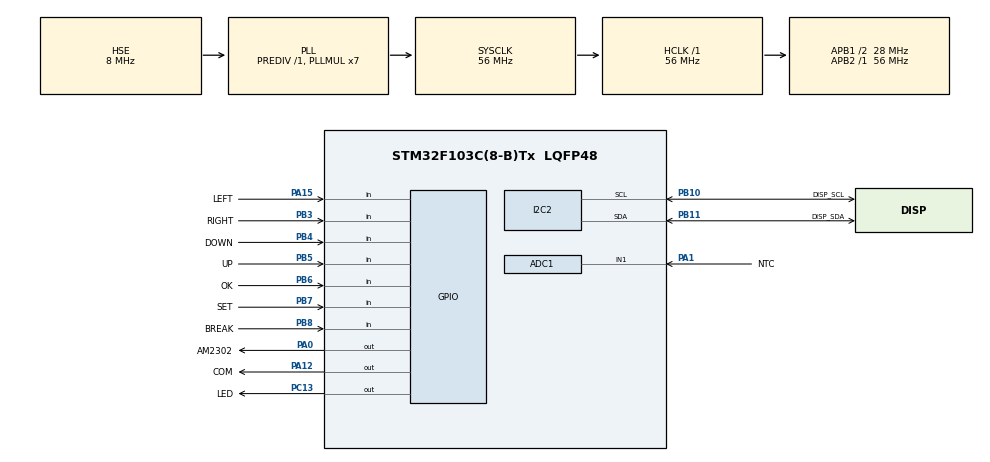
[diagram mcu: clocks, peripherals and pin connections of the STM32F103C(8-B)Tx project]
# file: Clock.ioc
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ADC1.Channel-0\#ChannelRegularConversion=ADC_CHANNEL_1
ADC1.NbrOfConversionFlag=1
ADC1.Rank-0\#ChannelRegularConversion=1
ADC1.SamplingTime-0\#ChannelRegularConversion=ADC_SAMPLETIME_1CYCLE_5
ADC1.master=1
FREERTOS.INCLUDE_vTaskDelayUntil=1
FREERTOS.Tasks01=ssd1306,0,128,ssd1306_task,As weak,NULL,Dynamic,NULL,NULL;am2302,1,128,am2302_task,As external,NULL,Dynamic,NULL,NULL;rtc,0,128,rtc_task,As external,NULL,Dynamic,NULL,NULL
FREERTOS.configUSE_TICKLESS_IDLE=1
I2C2.I2C_Mode=I2C_Fast
Mcu.Family=STM32F1
Mcu.Name=STM32F103C(8-B)Tx
Mcu.Package=LQFP48
NVIC.PriorityGroup=NVIC_PRIORITYGROUP_4
NVIC.TIM1_UP_IRQn=true\:0\:0\:false\:false\:true\:false\:false
NVIC.TIM2_IRQn=true\:5\:0\:false\:false\:true\:true\:true
NVIC.TimeBase=TIM1_UP_IRQn
NVIC.TimeBaseIP=TIM1
PA0-WKUP.GPIO_Label=AM2302
PA0-WKUP.Signal=GPIO_Output
PA1.GPIO_Label=NTC
PA1.Signal=ADCx_IN1
PA12.GPIO_Label=COM
PA12.Signal=GPIO_Output
PA13.Mode=Serial_Wire
PA13.Signal=SYS_JTMS-SWDIO
PA14.Mode=Serial_Wire
PA14.Signal=SYS_JTCK-SWCLK
PA15.GPIO_Label=LEFT
PA15.GPIO_PuPd=GPIO_PULLDOWN
PA15.Signal=GPIO_Input
PB10.GPIO_Label=DISP_SCL
PB10.Mode=I2C
PB10.Signal=I2C2_SCL
PB11.GPIO_Label=DISP_SDA
PB11.Mode=I2C
PB11.Signal=I2C2_SDA
PB3.GPIO_Label=RIGHT
PB3.GPIO_PuPd=GPIO_PULLDOWN
PB3.Signal=GPIO_Input
PB4.GPIO_Label=DOWN
PB4.GPIO_PuPd=GPIO_PULLDOWN
PB4.Signal=GPIO_Input
PB5.GPIO_Label=UP
PB5.GPIO_PuPd=GPIO_PULLDOWN
PB5.Signal=GPIO_Input
PB6.GPIO_Label=OK
PB6.GPIO_PuPd=GPIO_PULLDOWN
PB6.Signal=GPIO_Input
PB7.GPIO_Label=SET
PB7.GPIO_PuPd=GPIO_PULLDOWN
PB7.Signal=GPIO_Input
PB8.GPIO_Label=BREAK
PB8.GPIO_PuPd=GPIO_PULLDOWN
PB8.Signal=GPIO_Input
PC13-TAMPER-RTC.GPIO_Label=LED
PC13-TAMPER-RTC.GPIO_ModeDefaultOutputPP=GPIO_MODE_OUTPUT_OD
PC13-TAMPER-RTC.PinState=GPIO_PIN_SET
PC13-TAMPER-RTC.Signal=GPIO_Output
PC14-OSC32_IN.Mode=LSE-External-Oscillator
PC14-OSC32_IN.Signal=RCC_OSC32_IN
PC15-OSC32_OUT.Mode=LSE-External-Oscillator
PC15-OSC32_OUT.Signal=RCC_OSC32_OUT
PD0-OSC_IN.Mode=HSE-External-Oscillator
PD0-OSC_IN.Signal=RCC_OSC_IN
PD1-OSC_OUT.Mode=HSE-External-Oscillator
PD1-OSC_OUT.Signal=RCC_OSC_OUT
ProjectManager.HeapSize=0x200
ProjectManager.StackSize=0x400
ProjectManager.TargetToolchain=Makefile
RCC.ADCPresc=RCC_ADCPCLK2_DIV4
RCC.AHBFreq_Value=56000000
RCC.APB1CLKDivider=RCC_HCLK_DIV2
RCC.APB1Freq_Value=28000000
RCC.APB1TimFreq_Value=56000000
RCC.APB2Freq_Value=56000000
RCC.APB2TimFreq_Value=56000000
RCC.HCLKFreq_Value=56000000
RCC.PLLMUL=RCC_PLL_MUL7
RCC.PLLSourceVirtual=RCC_PLLSOURCE_HSE
RCC.RTCClockSelection=RCC_RTCCLKSOURCE_LSE
RCC.SYSCLKFreq_VALUE=56000000
RCC.SYSCLKSource=RCC_SYSCLKSOURCE_PLLCLK
RCC.USBFreq_Value=56000000
RTC.Date=11
RTC.Format=RTC_FORMAT_BIN
RTC.Month=RTC_MONTH_MAY
RTC.WeekDay=RTC_WEEKDAY_FRIDAY
RTC.Year=18
SH.ADCx_IN1.0=ADC1_IN1,IN1
VP_FREERTOS_VS_ENABLE.Mode=Enabled
VP_RTC_No_RTC_Output.Mode=RTC_OUT_NO
VP_RTC_VS_RTC_Activate.Mode=RTC_Enabled
VP_RTC_VS_RTC_Calendar.Mode=RTC_Calendar
VP_SYS_VS_tim1.Mode=TIM1
VP_TIM2_VS_ClockSourceINT.Mode=Internal
board=Clock

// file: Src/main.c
/* USER CODE BEGIN Header */
/**
  ******************************************************************************
  * @file           : main.c
  * @brief          : Main program body
  ******************************************************************************
  * This notice applies to any and all portions of this file
  * that are not between comment pairs USER CODE BEGIN and
  * USER CODE END. Other portions of this file, whether
  * inserted by the user or by software development tools
  * are owned by their respective copyright owners.
  *
  * Copyright (c) 2019 STMicroelectronics International N.V.
  * All rights reserved.
  *
  * Redistribution and use in source and binary forms, with or without
  * modification, are permitted, provided that the following conditions are met:
  *
  * 1. Redistribution of source code must retain the above copyright notice,
  *    this list of conditions and the following disclaimer.
  * 2. Redistributions in binary form must reproduce the above copyright notice,
  *    this list of conditions and the following disclaimer in the documentation
  *    and/or other materials provided with the distribution.
  * 3. Neither the name of STMicroelectronics nor the names of other
  *    contributors to this software may be used to endorse or promote products
  *    derived from this software without specific written permission.
  * 4. This software, including modifications and/or derivative works of this
  *    software, must execute solely and exclusively on microcontroller or
  *    microprocessor devices manufactured by or for STMicroelectronics.
  * 5. Redistribution and use of this software other than as permitted under
  *    this license is void and will automatically terminate your rights under
  *    this license.
  *
  * THIS SOFTWARE IS PROVIDED BY STMICROELECTRONICS AND CONTRIBUTORS "AS IS"
  * AND ANY EXPRESS, IMPLIED OR STATUTORY WARRANTIES, INCLUDING, BUT NOT
  * LIMITED TO, THE IMPLIED WARRANTIES OF MERCHANTABILITY, FITNESS FOR A
  * PARTICULAR PURPOSE AND NON-INFRINGEMENT OF THIRD PARTY INTELLECTUAL PROPERTY
  * RIGHTS ARE DISCLAIMED TO THE FULLEST EXTENT PERMITTED BY LAW. IN NO EVENT
  * SHALL STMICROELECTRONICS OR CONTRIBUTORS BE LIABLE FOR ANY DIRECT, INDIRECT,
  * INCIDENTAL, SPECIAL, EXEMPLARY, OR CONSEQUENTIAL DAMAGES (INCLUDING, BUT NOT
  * LIMITED TO, PROCUREMENT OF SUBSTITUTE GOODS OR SERVICES; LOSS OF USE, DATA,
  * OR PROFITS; OR BUSINESS INTERRUPTION) HOWEVER CAUSED AND ON ANY THEORY OF
  * LIABILITY, WHETHER IN CONTRACT, STRICT LIABILITY, OR TORT (INCLUDING
  * NEGLIGENCE OR OTHERWISE) ARISING IN ANY WAY OUT OF THE USE OF THIS SOFTWARE,
  * EVEN IF ADVISED OF THE POSSIBILITY OF SUCH DAMAGE.
  *
  ******************************************************************************
  */
/* USER CODE END Header */

#include "main.h"
#include "cmsis_os.h"

/* USER CODE BEGIN Includes */
#include "stm32f103xb.h"
#include "stm32f1xx_hal_flash.h"
#include "stm32f1xx_hal_rtc.h"
#include "stm32f1xx_hal_def.h"
#include "ssd1306.h"
#include "fonts.h"
#include "hd44780.h"
#include "am2302.h"
#include "keyboard.h"
#include "dcts.h"
#include "user_tasks.h"
#include "portable.h"
#include "buttons.h"

/* USER CODE END Includes */

ADC_HandleTypeDef hadc1;

I2C_HandleTypeDef hi2c2;

RTC_HandleTypeDef hrtc;

TIM_HandleTypeDef htim2;

osThreadId ssd1306Handle;
osThreadId am2302Handle;
osThreadId rtcHandle;
/* USER CODE BEGIN PV */
/* Private variables ---------------------------------------------------------*/

state_type clock_state = RUN;

/* USER CODE END PV */

void SystemClock_Config(void);
static void MX_GPIO_Init(void);
static void MX_RTC_Init(void);
static void MX_TIM2_Init(void);
static void MX_I2C2_Init(void);
static void MX_ADC1_Init(void);
void ssd1306_task(void const * argument);
extern void am2302_task(void const * argument);
extern void rtc_task(void const * argument);

/* USER CODE BEGIN PFP */
/* Private function prototypes -----------------------------------------------*/

/* USER CODE END PFP */

int main(void)
{

  /* MCU Configuration--------------------------------------------------------*/

  /* Reset of all peripherals, Initializes the Flash interface and the Systick. */
  HAL_Init();

  /* Configure the system clock */
  SystemClock_Config();

  /* Initialize all configured peripherals */
  MX_GPIO_Init();
  MX_RTC_Init();
  MX_TIM2_Init();
  MX_I2C2_Init();
  MX_ADC1_Init();
  /* USER CODE BEGIN 2 */

  dcts_init();
  buttons_init();

  /* USER CODE END 2 */

  /* Create the thread(s) */
  /* definition and creation of ssd1306 */
  osThreadDef(ssd1306, ssd1306_task, osPriorityNormal, 0, 128);
  ssd1306Handle = osThreadCreate(osThread(ssd1306), NULL);

  /* definition and creation of am2302 */
  osThreadDef(am2302, am2302_task, osPriorityAboveNormal, 0, 128);
  am2302Handle = osThreadCreate(osThread(am2302), NULL);

  /* definition and creation of rtc */
  osThreadDef(rtc, rtc_task, osPriorityNormal, 0, 128);
  rtcHandle = osThreadCreate(osThread(rtc), NULL);

  /* Start scheduler */
  osKernelStart();

  /* We should never get here as control is now taken by the scheduler */

  /* Infinite loop */
  while (1)
  {

  }
}

void SystemClock_Config(void)
{
  RCC_OscInitTypeDef RCC_OscInitStruct = {0};
  RCC_ClkInitTypeDef RCC_ClkInitStruct = {0};
  RCC_PeriphCLKInitTypeDef PeriphClkInit = {0};

  /**Initializes the CPU, AHB and APB busses clocks
  */
  RCC_OscInitStruct.OscillatorType = RCC_OSCILLATORTYPE_HSE|RCC_OSCILLATORTYPE_LSE;
  RCC_OscInitStruct.HSEState = RCC_HSE_ON;
  RCC_OscInitStruct.HSEPredivValue = RCC_HSE_PREDIV_DIV1;
  RCC_OscInitStruct.LSEState = RCC_LSE_ON;
  RCC_OscInitStruct.HSIState = RCC_HSI_ON;
  RCC_OscInitStruct.PLL.PLLState = RCC_PLL_ON;
  RCC_OscInitStruct.PLL.PLLSource = RCC_PLLSOURCE_HSE;
  RCC_OscInitStruct.PLL.PLLMUL = RCC_PLL_MUL7;
  if (HAL_RCC_OscConfig(&RCC_OscInitStruct) != HAL_OK)
  {
    Error_Handler();
  }
  /**Initializes the CPU, AHB and APB busses clocks
  */
  RCC_ClkInitStruct.ClockType = RCC_CLOCKTYPE_HCLK|RCC_CLOCKTYPE_SYSCLK
                              |RCC_CLOCKTYPE_PCLK1|RCC_CLOCKTYPE_PCLK2;
  RCC_ClkInitStruct.SYSCLKSource = RCC_SYSCLKSOURCE_PLLCLK;
  RCC_ClkInitStruct.AHBCLKDivider = RCC_SYSCLK_DIV1;
  RCC_ClkInitStruct.APB1CLKDivider = RCC_HCLK_DIV2;
  RCC_ClkInitStruct.APB2CLKDivider = RCC_HCLK_DIV1;

  if (HAL_RCC_ClockConfig(&RCC_ClkInitStruct, FLASH_LATENCY_2) != HAL_OK)
  {
    Error_Handler();
  }
  PeriphClkInit.PeriphClockSelection = RCC_PERIPHCLK_RTC|RCC_PERIPHCLK_ADC;
  PeriphClkInit.RTCClockSelection = RCC_RTCCLKSOURCE_LSE;
  PeriphClkInit.AdcClockSelection = RCC_ADCPCLK2_DIV4;
  if (HAL_RCCEx_PeriphCLKConfig(&PeriphClkInit) != HAL_OK)
  {
    Error_Handler();
  }
}

static void MX_ADC1_Init(void)
{

  ADC_ChannelConfTypeDef sConfig = {0};

  /**Common config
  */
  hadc1.Instance = ADC1;
  hadc1.Init.ScanConvMode = ADC_SCAN_DISABLE;
  hadc1.Init.ContinuousConvMode = DISABLE;
  hadc1.Init.DiscontinuousConvMode = DISABLE;
  hadc1.Init.ExternalTrigConv = ADC_SOFTWARE_START;
  hadc1.Init.DataAlign = ADC_DATAALIGN_RIGHT;
  hadc1.Init.NbrOfConversion = 1;
  if (HAL_ADC_Init(&hadc1) != HAL_OK)
  {
    Error_Handler();
  }
  /**Configure Regular Channel
  */
  sConfig.Channel = ADC_CHANNEL_1;
  sConfig.Rank = ADC_REGULAR_RANK_1;
  sConfig.SamplingTime = ADC_SAMPLETIME_1CYCLE_5;
  if (HAL_ADC_ConfigChannel(&hadc1, &sConfig) != HAL_OK)
  {
    Error_Handler();
  }

}

static void MX_I2C2_Init(void)
{

  hi2c2.Instance = I2C2;
  hi2c2.Init.ClockSpeed = 400000;
  hi2c2.Init.DutyCycle = I2C_DUTYCYCLE_2;
  hi2c2.Init.OwnAddress1 = 0;
  hi2c2.Init.AddressingMode = I2C_ADDRESSINGMODE_7BIT;
  hi2c2.Init.DualAddressMode = I2C_DUALADDRESS_DISABLE;
  hi2c2.Init.OwnAddress2 = 0;
  hi2c2.Init.GeneralCallMode = I2C_GENERALCALL_DISABLE;
  hi2c2.Init.NoStretchMode = I2C_NOSTRETCH_DISABLE;
  if (HAL_I2C_Init(&hi2c2) != HAL_OK)
  {
    Error_Handler();
  }

}

static void MX_RTC_Init(void)
{

  RTC_TimeTypeDef sTime = {0};
  RTC_DateTypeDef DateToUpdate = {0};

  /**Initialize RTC Only
  */
  hrtc.Instance = RTC;
  hrtc.Init.AsynchPrediv = RTC_AUTO_1_SECOND;
  hrtc.Init.OutPut = RTC_OUTPUTSOURCE_NONE;
  if (HAL_RTC_Init(&hrtc) != HAL_OK)
  {
    Error_Handler();
  }

  /**Initialize RTC and set the Time and Date
  */
  sTime.Hours = 0;
  sTime.Minutes = 0;
  sTime.Seconds = 0;

  if (HAL_RTC_SetTime(&hrtc, &sTime, RTC_FORMAT_BIN) != HAL_OK)
  {
    Error_Handler();
  }
  DateToUpdate.WeekDay = RTC_WEEKDAY_FRIDAY;
  DateToUpdate.Month = RTC_MONTH_MAY;
  DateToUpdate.Date = 11;
  DateToUpdate.Year = 18;

  if (HAL_RTC_SetDate(&hrtc, &DateToUpdate, RTC_FORMAT_BIN) != HAL_OK)
  {
    Error_Handler();
  }

}

static void MX_TIM2_Init(void)
{

  TIM_ClockConfigTypeDef sClockSourceConfig = {0};
  TIM_MasterConfigTypeDef sMasterConfig = {0};

  htim2.Instance = TIM2;
  htim2.Init.Prescaler = 0;
  htim2.Init.CounterMode = TIM_COUNTERMODE_UP;
  htim2.Init.Period = 0;
  htim2.Init.ClockDivision = TIM_CLOCKDIVISION_DIV1;
  htim2.Init.AutoReloadPreload = TIM_AUTORELOAD_PRELOAD_DISABLE;
  if (HAL_TIM_Base_Init(&htim2) != HAL_OK)
  {
    Error_Handler();
  }
  sClockSourceConfig.ClockSource = TIM_CLOCKSOURCE_INTERNAL;
  if (HAL_TIM_ConfigClockSource(&htim2, &sClockSourceConfig) != HAL_OK)
  {
    Error_Handler();
  }
  sMasterConfig.MasterOutputTrigger = TIM_TRGO_RESET;
  sMasterConfig.MasterSlaveMode = TIM_MASTERSLAVEMODE_DISABLE;
  if (HAL_TIMEx_MasterConfigSynchronization(&htim2, &sMasterConfig) != HAL_OK)
  {
    Error_Handler();
  }

}

static void MX_GPIO_Init(void)
{
  GPIO_InitTypeDef GPIO_InitStruct = {0};

  /* GPIO Ports Clock Enable */
  __HAL_RCC_GPIOC_CLK_ENABLE();
  __HAL_RCC_GPIOD_CLK_ENABLE();
  __HAL_RCC_GPIOA_CLK_ENABLE();
  __HAL_RCC_GPIOB_CLK_ENABLE();

  /*Configure GPIO pin Output Level */
  HAL_GPIO_WritePin(LED_GPIO_Port, LED_Pin, GPIO_PIN_SET);

  /*Configure GPIO pin Output Level */
  HAL_GPIO_WritePin(GPIOA, AM2302_Pin|COM_Pin, GPIO_PIN_RESET);

  /*Configure GPIO pin : LED_Pin */
  GPIO_InitStruct.Pin = LED_Pin;
  GPIO_InitStruct.Mode = GPIO_MODE_OUTPUT_OD;
  GPIO_InitStruct.Pull = GPIO_NOPULL;
  GPIO_InitStruct.Speed = GPIO_SPEED_FREQ_LOW;
  HAL_GPIO_Init(LED_GPIO_Port, &GPIO_InitStruct);

  /*Configure GPIO pins : AM2302_Pin COM_Pin */
  GPIO_InitStruct.Pin = AM2302_Pin|COM_Pin;
  GPIO_InitStruct.Mode = GPIO_MODE_OUTPUT_PP;
  GPIO_InitStruct.Pull = GPIO_NOPULL;
  GPIO_InitStruct.Speed = GPIO_SPEED_FREQ_LOW;
  HAL_GPIO_Init(GPIOA, &GPIO_InitStruct);

  /*Configure GPIO pin : LEFT_Pin */
  GPIO_InitStruct.Pin = LEFT_Pin;
  GPIO_InitStruct.Mode = GPIO_MODE_INPUT;
  GPIO_InitStruct.Pull = GPIO_PULLDOWN;
  HAL_GPIO_Init(LEFT_GPIO_Port, &GPIO_InitStruct);

  /*Configure GPIO pins : RIGHT_Pin DOWN_Pin UP_Pin OK_Pin
                           SET_Pin BREAK_Pin */
  GPIO_InitStruct.Pin = RIGHT_Pin|DOWN_Pin|UP_Pin|OK_Pin
                          |SET_Pin|BREAK_Pin;
  GPIO_InitStruct.Mode = GPIO_MODE_INPUT;
  GPIO_InitStruct.Pull = GPIO_PULLDOWN;
  HAL_GPIO_Init(GPIOB, &GPIO_InitStruct);

}

__weak void ssd1306_task(void const * argument)
{

    for(;;) {
    }
}

void HAL_TIM_PeriodElapsedCallback(TIM_HandleTypeDef *htim)
{
  if (htim->Instance == TIM1) {
    HAL_IncTick();
  }
}

void Error_Handler(void)
{
  while(1)
  {
  }
}

/************************ (C) COPYRIGHT STMicroelectronics *****END OF FILE****/

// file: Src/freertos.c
/* USER CODE BEGIN Header */
/**
  ******************************************************************************
  * File Name          : freertos.c
  * Description        : Code for freertos applications
  ******************************************************************************
  * This notice applies to any and all portions of this file
  * that are not between comment pairs USER CODE BEGIN and
  * USER CODE END. Other portions of this file, whether
  * inserted by the user or by software development tools
  * are owned by their respective copyright owners.
  *
  * Copyright (c) 2019 STMicroelectronics International N.V.
  * All rights reserved.
  *
  * Redistribution and use in source and binary forms, with or without
  * modification, are permitted, provided that the following conditions are met:
  *
  * 1. Redistribution of source code must retain the above copyright notice,
  *    this list of conditions and the following disclaimer.
  * 2. Redistributions in binary form must reproduce the above copyright notice,
  *    this list of conditions and the following disclaimer in the documentation
  *    and/or other materials provided with the distribution.
  * 3. Neither the name of STMicroelectronics nor the names of other
  *    contributors to this software may be used to endorse or promote products
  *    derived from this software without specific written permission.
  * 4. This software, including modifications and/or derivative works of this
  *    software, must execute solely and exclusively on microcontroller or
  *    microprocessor devices manufactured by or for STMicroelectronics.
  * 5. Redistribution and use of this software other than as permitted under
  *    this license is void and will automatically terminate your rights under
  *    this license.
  *
  * THIS SOFTWARE IS PROVIDED BY STMICROELECTRONICS AND CONTRIBUTORS "AS IS"
  * AND ANY EXPRESS, IMPLIED OR STATUTORY WARRANTIES, INCLUDING, BUT NOT
  * LIMITED TO, THE IMPLIED WARRANTIES OF MERCHANTABILITY, FITNESS FOR A
  * PARTICULAR PURPOSE AND NON-INFRINGEMENT OF THIRD PARTY INTELLECTUAL PROPERTY
  * RIGHTS ARE DISCLAIMED TO THE FULLEST EXTENT PERMITTED BY LAW. IN NO EVENT
  * SHALL STMICROELECTRONICS OR CONTRIBUTORS BE LIABLE FOR ANY DIRECT, INDIRECT,
  * INCIDENTAL, SPECIAL, EXEMPLARY, OR CONSEQUENTIAL DAMAGES (INCLUDING, BUT NOT
  * LIMITED TO, PROCUREMENT OF SUBSTITUTE GOODS OR SERVICES; LOSS OF USE, DATA,
  * OR PROFITS; OR BUSINESS INTERRUPTION) HOWEVER CAUSED AND ON ANY THEORY OF
  * LIABILITY, WHETHER IN CONTRACT, STRICT LIABILITY, OR TORT (INCLUDING
  * NEGLIGENCE OR OTHERWISE) ARISING IN ANY WAY OUT OF THE USE OF THIS SOFTWARE,
  * EVEN IF ADVISED OF THE POSSIBILITY OF SUCH DAMAGE.
  *
  ******************************************************************************
  */
/* USER CODE END Header */

#include "FreeRTOS.h"
#include "task.h"
#include "main.h"

/* Pre/Post sleep processing prototypes */
void PreSleepProcessing(uint32_t *ulExpectedIdleTime);
void PostSleepProcessing(uint32_t *ulExpectedIdleTime);

/* USER CODE BEGIN PREPOSTSLEEP */
__weak void PreSleepProcessing(uint32_t *ulExpectedIdleTime)
{
/* place for user code */
}

__weak void PostSleepProcessing(uint32_t *ulExpectedIdleTime)
{
/* place for user code */
}
/* USER CODE END PREPOSTSLEEP */

/************************ (C) COPYRIGHT STMicroelectronics *****END OF FILE****/
